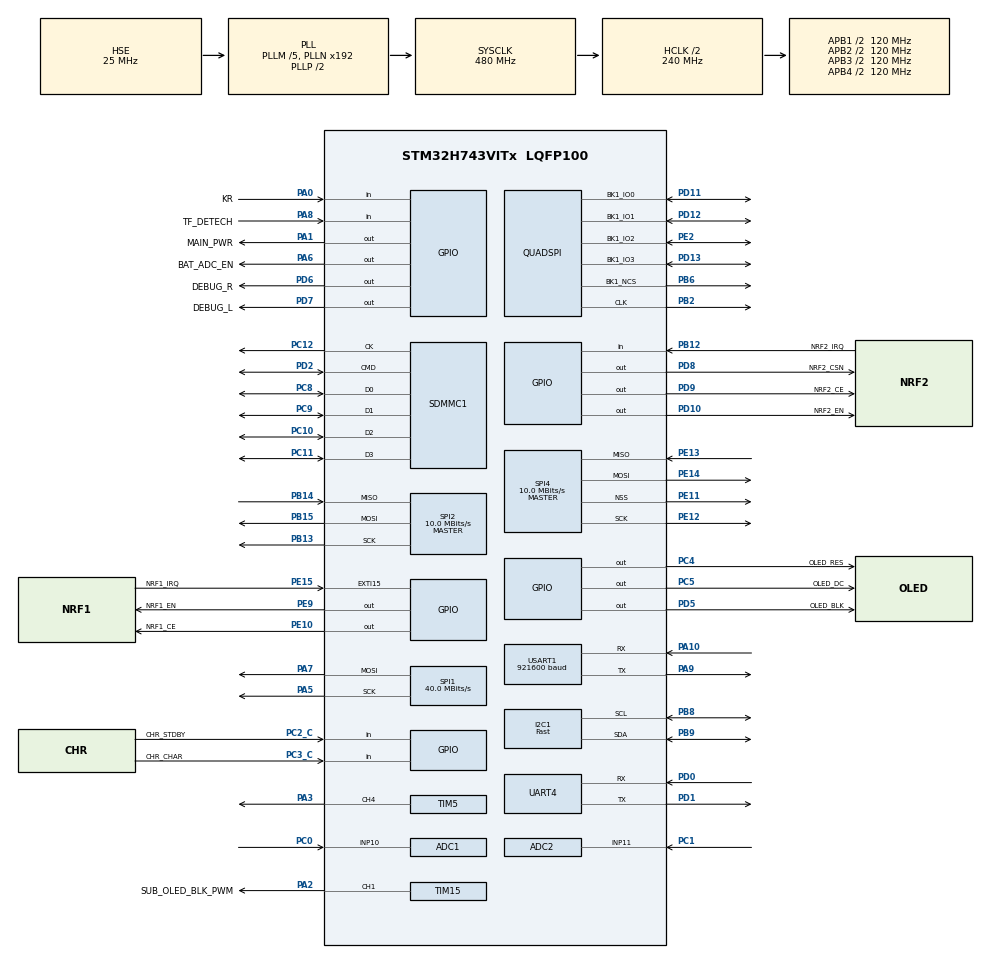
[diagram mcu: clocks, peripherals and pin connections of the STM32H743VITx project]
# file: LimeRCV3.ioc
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ADC1.Channel-0\#ChannelRegularConversion=ADC_CHANNEL_10
ADC1.ClockPrescaler=ADC_CLOCK_ASYNC_DIV256
ADC1.ContinuousConvMode=ENABLE
ADC1.NbrOfConversionFlag=1
ADC1.OffsetNumber-0\#ChannelRegularConversion=ADC_OFFSET_NONE
ADC1.OffsetSignedSaturation-0\#ChannelRegularConversion=DISABLE
ADC1.Overrun=ADC_OVR_DATA_OVERWRITTEN
ADC1.OversamplingMode=ENABLE
ADC1.Rank-0\#ChannelRegularConversion=1
ADC1.Ratio=128
ADC1.RightBitShift=ADC_RIGHTBITSHIFT_7
ADC1.SamplingTime-0\#ChannelRegularConversion=ADC_SAMPLETIME_1CYCLE_5
ADC1.master=1
ADC2.Channel-0\#ChannelRegularConversion=ADC_CHANNEL_11
ADC2.ClockPrescaler=ADC_CLOCK_ASYNC_DIV256
ADC2.ContinuousConvMode=ENABLE
ADC2.NbrOfConversionFlag=1
ADC2.OffsetNumber-0\#ChannelRegularConversion=ADC_OFFSET_NONE
ADC2.OffsetSignedSaturation-0\#ChannelRegularConversion=DISABLE
ADC2.Overrun=ADC_OVR_DATA_OVERWRITTEN
ADC2.OversamplingMode=ENABLE
ADC2.Rank-0\#ChannelRegularConversion=1
ADC2.Ratio=128
ADC2.RightBitShift=ADC_RIGHTBITSHIFT_7
ADC2.SamplingTime-0\#ChannelRegularConversion=ADC_SAMPLETIME_1CYCLE_5
CORTEX_M7.AccessPermission_S-Cortex_Memory_Protection_Unit_Region1_Settings_S=MPU_REGION_PRIV_RO_URO
CORTEX_M7.AccessPermission_S-Cortex_Memory_Protection_Unit_Region2_Settings_S=MPU_REGION_FULL_ACCESS
CORTEX_M7.AccessPermission_S-Cortex_Memory_Protection_Unit_Region3_Settings_S=MPU_REGION_FULL_ACCESS
CORTEX_M7.AccessPermission_S-Cortex_Memory_Protection_Unit_Region4_Settings_S=MPU_REGION_FULL_ACCESS
CORTEX_M7.AccessPermission_S-Cortex_Memory_Protection_Unit_Region5_Settings_S=MPU_REGION_FULL_ACCESS
CORTEX_M7.AccessPermission_S-Cortex_Memory_Protection_Unit_Region6_Settings_S=MPU_REGION_FULL_ACCESS
CORTEX_M7.AccessPermission_S-Cortex_Memory_Protection_Unit_Region7_Settings_S=MPU_REGION_FULL_ACCESS
CORTEX_M7.BaseAddress_S-Cortex_Memory_Protection_Unit_Region1_Settings_S=0x08000000
CORTEX_M7.BaseAddress_S-Cortex_Memory_Protection_Unit_Region2_Settings_S=0x24000000
CORTEX_M7.BaseAddress_S-Cortex_Memory_Protection_Unit_Region3_Settings_S=0x30000000
CORTEX_M7.BaseAddress_S-Cortex_Memory_Protection_Unit_Region4_Settings_S=0x30040000
CORTEX_M7.BaseAddress_S-Cortex_Memory_Protection_Unit_Region5_Settings_S=0x38000000
CORTEX_M7.BaseAddress_S-Cortex_Memory_Protection_Unit_Region6_Settings_S=0x20000000
CORTEX_M7.BaseAddress_S-Cortex_Memory_Protection_Unit_Region7_Settings_S=0x40000000
CORTEX_M7.CPU_DCache=Enabled
CORTEX_M7.CPU_ICache=Enabled
CORTEX_M7.DisableExec_S-Cortex_Memory_Protection_Unit_Region4_Settings_S=MPU_INSTRUCTION_ACCESS_DISABLE
CORTEX_M7.DisableExec_S-Cortex_Memory_Protection_Unit_Region5_Settings_S=MPU_INSTRUCTION_ACCESS_ENABLE
CORTEX_M7.Enable_S-Cortex_Memory_Protection_Unit_Region1_Settings_S=MPU_REGION_ENABLE
CORTEX_M7.Enable_S-Cortex_Memory_Protection_Unit_Region2_Settings_S=MPU_REGION_ENABLE
CORTEX_M7.Enable_S-Cortex_Memory_Protection_Unit_Region3_Settings_S=MPU_REGION_ENABLE
CORTEX_M7.Enable_S-Cortex_Memory_Protection_Unit_Region4_Settings_S=MPU_REGION_ENABLE
CORTEX_M7.Enable_S-Cortex_Memory_Protection_Unit_Region5_Settings_S=MPU_REGION_ENABLE
CORTEX_M7.Enable_S-Cortex_Memory_Protection_Unit_Region6_Settings_S=MPU_REGION_ENABLE
CORTEX_M7.Enable_S-Cortex_Memory_Protection_Unit_Region7_Settings_S=MPU_REGION_ENABLE
CORTEX_M7.IsBufferable_S-Cortex_Memory_Protection_Unit_Region1_Settings_S=MPU_ACCESS_BUFFERABLE
CORTEX_M7.IsBufferable_S-Cortex_Memory_Protection_Unit_Region2_Settings_S=MPU_ACCESS_BUFFERABLE
CORTEX_M7.IsBufferable_S-Cortex_Memory_Protection_Unit_Region3_Settings_S=MPU_ACCESS_BUFFERABLE
CORTEX_M7.IsBufferable_S-Cortex_Memory_Protection_Unit_Region6_Settings_S=MPU_ACCESS_BUFFERABLE
CORTEX_M7.IsCacheable_S-Cortex_Memory_Protection_Unit_Region1_Settings_S=MPU_ACCESS_CACHEABLE
CORTEX_M7.IsCacheable_S-Cortex_Memory_Protection_Unit_Region2_Settings_S=MPU_ACCESS_CACHEABLE
CORTEX_M7.IsCacheable_S-Cortex_Memory_Protection_Unit_Region3_Settings_S=MPU_ACCESS_CACHEABLE
CORTEX_M7.IsCacheable_S-Cortex_Memory_Protection_Unit_Region6_Settings_S=MPU_ACCESS_CACHEABLE
CORTEX_M7.Size_S-Cortex_Memory_Protection_Unit_Region1_Settings_S=MPU_REGION_SIZE_2MB
CORTEX_M7.Size_S-Cortex_Memory_Protection_Unit_Region2_Settings_S=MPU_REGION_SIZE_512KB
CORTEX_M7.Size_S-Cortex_Memory_Protection_Unit_Region3_Settings_S=MPU_REGION_SIZE_256KB
CORTEX_M7.Size_S-Cortex_Memory_Protection_Unit_Region4_Settings_S=MPU_REGION_SIZE_32KB
CORTEX_M7.Size_S-Cortex_Memory_Protection_Unit_Region5_Settings_S=MPU_REGION_SIZE_64KB
CORTEX_M7.Size_S-Cortex_Memory_Protection_Unit_Region6_Settings_S=MPU_REGION_SIZE_128KB
CORTEX_M7.Size_S-Cortex_Memory_Protection_Unit_Region7_Settings_S=MPU_REGION_SIZE_256MB
CORTEX_M7.TypeExtField_S-Cortex_Memory_Protection_Unit_Region1_Settings_S=MPU_TEX_LEVEL1
CORTEX_M7.TypeExtField_S-Cortex_Memory_Protection_Unit_Region2_Settings_S=MPU_TEX_LEVEL1
CORTEX_M7.TypeExtField_S-Cortex_Memory_Protection_Unit_Region3_Settings_S=MPU_TEX_LEVEL1
CORTEX_M7.TypeExtField_S-Cortex_Memory_Protection_Unit_Region6_Settings_S=MPU_TEX_LEVEL1
CORTEX_M7.default_mode_Activation=1
CRC.DefaultInitValueUse=DEFAULT_INIT_VALUE_DISABLE
CRC.InitValue=2023
DMA2D.ChromaSubSamplingForeground=DMA2D_CSS_422
DMA2D.ColorMode=DMA2D_OUTPUT_RGB565
DMA2D.InputColorModeForeground=DMA2D_INPUT_RGB888
DMA2D.Mode=DMA2D_M2M_PFC
Dma.Request0=TIM5_CH4
Dma.Request1=SPI1_TX
Dma.Request2=UART4_RX
Dma.Request3=SPI4_TX
Dma.Request4=SPI4_RX
Dma.SPI1_TX.1.Direction=DMA_MEMORY_TO_PERIPH
Dma.SPI1_TX.1.EventEnable=DISABLE
Dma.SPI1_TX.1.FIFOMode=DMA_FIFOMODE_DISABLE
Dma.SPI1_TX.1.Instance=DMA2_Stream0
Dma.SPI1_TX.1.MemDataAlignment=DMA_MDATAALIGN_HALFWORD
Dma.SPI1_TX.1.MemInc=DMA_MINC_ENABLE
Dma.SPI1_TX.1.Mode=DMA_NORMAL
Dma.SPI1_TX.1.PeriphDataAlignment=DMA_PDATAALIGN_HALFWORD
Dma.SPI1_TX.1.PeriphInc=DMA_PINC_DISABLE
Dma.SPI1_TX.1.Polarity=HAL_DMAMUX_REQ_GEN_RISING
Dma.SPI1_TX.1.Priority=DMA_PRIORITY_MEDIUM
Dma.SPI1_TX.1.RequestNumber=1
Dma.SPI1_TX.1.SignalID=NONE
Dma.SPI1_TX.1.SyncEnable=DISABLE
Dma.SPI1_TX.1.SyncPolarity=HAL_DMAMUX_SYNC_NO_EVENT
Dma.SPI1_TX.1.SyncRequestNumber=1
Dma.SPI1_TX.1.SyncSignalID=NONE
Dma.SPI4_RX.4.Direction=DMA_PERIPH_TO_MEMORY
Dma.SPI4_RX.4.EventEnable=DISABLE
Dma.SPI4_RX.4.FIFOMode=DMA_FIFOMODE_DISABLE
Dma.SPI4_RX.4.Instance=DMA1_Stream3
Dma.SPI4_RX.4.MemDataAlignment=DMA_MDATAALIGN_BYTE
Dma.SPI4_RX.4.MemInc=DMA_MINC_ENABLE
Dma.SPI4_RX.4.Mode=DMA_NORMAL
Dma.SPI4_RX.4.PeriphDataAlignment=DMA_PDATAALIGN_BYTE
Dma.SPI4_RX.4.PeriphInc=DMA_PINC_DISABLE
Dma.SPI4_RX.4.Polarity=HAL_DMAMUX_REQ_GEN_RISING
Dma.SPI4_RX.4.Priority=DMA_PRIORITY_HIGH
Dma.SPI4_RX.4.RequestNumber=1
Dma.SPI4_RX.4.SignalID=NONE
Dma.SPI4_RX.4.SyncEnable=DISABLE
Dma.SPI4_RX.4.SyncPolarity=HAL_DMAMUX_SYNC_NO_EVENT
Dma.SPI4_RX.4.SyncRequestNumber=1
Dma.SPI4_RX.4.SyncSignalID=NONE
Dma.SPI4_TX.3.Direction=DMA_MEMORY_TO_PERIPH
Dma.SPI4_TX.3.EventEnable=DISABLE
Dma.SPI4_TX.3.FIFOMode=DMA_FIFOMODE_DISABLE
Dma.SPI4_TX.3.Instance=DMA1_Stream2
Dma.SPI4_TX.3.MemDataAlignment=DMA_MDATAALIGN_BYTE
Dma.SPI4_TX.3.MemInc=DMA_MINC_ENABLE
Dma.SPI4_TX.3.Mode=DMA_NORMAL
Dma.SPI4_TX.3.PeriphDataAlignment=DMA_PDATAALIGN_BYTE
Dma.SPI4_TX.3.PeriphInc=DMA_PINC_DISABLE
Dma.SPI4_TX.3.Polarity=HAL_DMAMUX_REQ_GEN_RISING
Dma.SPI4_TX.3.Priority=DMA_PRIORITY_HIGH
Dma.SPI4_TX.3.RequestNumber=1
Dma.SPI4_TX.3.SignalID=NONE
Dma.SPI4_TX.3.SyncEnable=DISABLE
Dma.SPI4_TX.3.SyncPolarity=HAL_DMAMUX_SYNC_NO_EVENT
Dma.SPI4_TX.3.SyncRequestNumber=1
Dma.SPI4_TX.3.SyncSignalID=NONE
Dma.TIM5_CH4.0.Direction=DMA_MEMORY_TO_PERIPH
Dma.TIM5_CH4.0.EventEnable=DISABLE
Dma.TIM5_CH4.0.FIFOMode=DMA_FIFOMODE_DISABLE
Dma.TIM5_CH4.0.Instance=DMA1_Stream0
Dma.TIM5_CH4.0.MemDataAlignment=DMA_MDATAALIGN_WORD
Dma.TIM5_CH4.0.MemInc=DMA_MINC_ENABLE
Dma.TIM5_CH4.0.Mode=DMA_CIRCULAR
Dma.TIM5_CH4.0.PeriphDataAlignment=DMA_PDATAALIGN_WORD
Dma.TIM5_CH4.0.PeriphInc=DMA_PINC_DISABLE
Dma.TIM5_CH4.0.Polarity=HAL_DMAMUX_REQ_GEN_RISING
Dma.TIM5_CH4.0.Priority=DMA_PRIORITY_LOW
Dma.TIM5_CH4.0.RequestNumber=1
Dma.TIM5_CH4.0.SignalID=NONE
Dma.TIM5_CH4.0.SyncEnable=DISABLE
Dma.TIM5_CH4.0.SyncPolarity=HAL_DMAMUX_SYNC_NO_EVENT
Dma.TIM5_CH4.0.SyncRequestNumber=1
Dma.TIM5_CH4.0.SyncSignalID=NONE
Dma.UART4_RX.2.Direction=DMA_PERIPH_TO_MEMORY
Dma.UART4_RX.2.EventEnable=DISABLE
Dma.UART4_RX.2.FIFOMode=DMA_FIFOMODE_DISABLE
Dma.UART4_RX.2.Instance=DMA1_Stream1
Dma.UART4_RX.2.MemDataAlignment=DMA_MDATAALIGN_BYTE
Dma.UART4_RX.2.MemInc=DMA_MINC_ENABLE
Dma.UART4_RX.2.Mode=DMA_NORMAL
Dma.UART4_RX.2.PeriphDataAlignment=DMA_PDATAALIGN_BYTE
Dma.UART4_RX.2.PeriphInc=DMA_PINC_DISABLE
Dma.UART4_RX.2.Polarity=HAL_DMAMUX_REQ_GEN_RISING
Dma.UART4_RX.2.Priority=DMA_PRIORITY_LOW
Dma.UART4_RX.2.RequestNumber=1
Dma.UART4_RX.2.SignalID=NONE
Dma.UART4_RX.2.SyncEnable=DISABLE
Dma.UART4_RX.2.SyncPolarity=HAL_DMAMUX_SYNC_NO_EVENT
Dma.UART4_RX.2.SyncRequestNumber=1
Dma.UART4_RX.2.SyncSignalID=NONE
FREERTOS.INCLUDE_xTaskGetHandle=1
FREERTOS.Tasks01=bspUI,-1,2048,bspUI_main,As weak,NULL,Dynamic,NULL,NULL;nrfMessage,0,256,nrfMessage_main,As weak,NULL,Dynamic,NULL,NULL;bspInfo,-2,512,bspInfo_main,As weak,NULL,Dynamic,NULL,NULL;nrfVideo,2,256,nrfVideo_main,As weak,NULL,Dynamic,NULL,NULL;watchDog,-1,128,watchDog_main,As weak,NULL,Dynamic,NULL,NULL
FREERTOS.configTOTAL_HEAP_SIZE=24576
I2C1.I2C_Speed_Mode=I2C_Fast
I2C1.Timing=0x00B03FDB
IWDG1.Prescaler=IWDG_PRESCALER_64
JPEG.JPEG_RGB_FORMAT=JPEG_RGB565
JPEG.USE_JPEG_ENCODER=0
Mcu.Family=STM32H7
Mcu.Name=STM32H743VITx
Mcu.Package=LQFP100
Mdma.MDMA_Channel14.QUADSPI_FIFO_TH.0.BlockCount=0
Mdma.MDMA_Channel14.QUADSPI_FIFO_TH.0.BlockDataLength=0
Mdma.MDMA_Channel14.QUADSPI_FIFO_TH.0.BufferTransferLength=32
Mdma.MDMA_Channel14.QUADSPI_FIFO_TH.0.CircularMode=MDMA_LINEAR_LIST
Mdma.MDMA_Channel14.QUADSPI_FIFO_TH.0.DataAlignment=MDMA_DATAALIGN_PACKENABLE
Mdma.MDMA_Channel14.QUADSPI_FIFO_TH.0.DestBlockAddressOffset=0
Mdma.MDMA_Channel14.QUADSPI_FIFO_TH.0.DestBurst=MDMA_DEST_BURST_SINGLE
Mdma.MDMA_Channel14.QUADSPI_FIFO_TH.0.DestDataSize=MDMA_DEST_DATASIZE_BYTE
Mdma.MDMA_Channel14.QUADSPI_FIFO_TH.0.DestinationInc=MDMA_DEST_INC_DISABLE
Mdma.MDMA_Channel14.QUADSPI_FIFO_TH.0.DstAddress=0
Mdma.MDMA_Channel14.QUADSPI_FIFO_TH.0.Endianness=MDMA_LITTLE_ENDIANNESS_PRESERVE
Mdma.MDMA_Channel14.QUADSPI_FIFO_TH.0.Instance=MDMA_Channel14
Mdma.MDMA_Channel14.QUADSPI_FIFO_TH.0.MaskAddress=0
Mdma.MDMA_Channel14.QUADSPI_FIFO_TH.0.MaskData=0
Mdma.MDMA_Channel14.QUADSPI_FIFO_TH.0.Priority=MDMA_PRIORITY_VERY_HIGH
Mdma.MDMA_Channel14.QUADSPI_FIFO_TH.0.Rank=First
Mdma.MDMA_Channel14.QUADSPI_FIFO_TH.0.SourceBlockAddressOffset=0
Mdma.MDMA_Channel14.QUADSPI_FIFO_TH.0.SourceBurst=MDMA_SOURCE_BURST_SINGLE
Mdma.MDMA_Channel14.QUADSPI_FIFO_TH.0.SourceDataSize=MDMA_SRC_DATASIZE_BYTE
Mdma.MDMA_Channel14.QUADSPI_FIFO_TH.0.SourceInc=MDMA_SRC_INC_BYTE
Mdma.MDMA_Channel14.QUADSPI_FIFO_TH.0.SrcAddress=0
Mdma.MDMA_Channel14.QUADSPI_FIFO_TH.0.TransferTriggerMode=MDMA_BUFFER_TRANSFER
Mdma.MDMA_Channel14.Request0=QUADSPI_FIFO_TH
Mdma.MDMA_Channel14.RequestsNb=1
Mdma.MDMA_Channel6.JPEG_OUTFIFO_TH.0.BlockCount=0
Mdma.MDMA_Channel6.JPEG_OUTFIFO_TH.0.BlockDataLength=0
Mdma.MDMA_Channel6.JPEG_OUTFIFO_TH.0.BufferTransferLength=32
Mdma.MDMA_Channel6.JPEG_OUTFIFO_TH.0.CircularMode=MDMA_LINEAR_LIST
Mdma.MDMA_Channel6.JPEG_OUTFIFO_TH.0.DataAlignment=MDMA_DATAALIGN_PACKENABLE
Mdma.MDMA_Channel6.JPEG_OUTFIFO_TH.0.DestBlockAddressOffset=0
Mdma.MDMA_Channel6.JPEG_OUTFIFO_TH.0.DestBurst=MDMA_DEST_BURST_32BEATS
Mdma.MDMA_Channel6.JPEG_OUTFIFO_TH.0.DestDataSize=MDMA_DEST_DATASIZE_BYTE
Mdma.MDMA_Channel6.JPEG_OUTFIFO_TH.0.DestinationInc=MDMA_DEST_INC_BYTE
Mdma.MDMA_Channel6.JPEG_OUTFIFO_TH.0.DstAddress=0
Mdma.MDMA_Channel6.JPEG_OUTFIFO_TH.0.Endianness=MDMA_LITTLE_ENDIANNESS_PRESERVE
Mdma.MDMA_Channel6.JPEG_OUTFIFO_TH.0.Instance=MDMA_Channel6
Mdma.MDMA_Channel6.JPEG_OUTFIFO_TH.0.MaskAddress=0
Mdma.MDMA_Channel6.JPEG_OUTFIFO_TH.0.MaskData=0
Mdma.MDMA_Channel6.JPEG_OUTFIFO_TH.0.Priority=MDMA_PRIORITY_LOW
Mdma.MDMA_Channel6.JPEG_OUTFIFO_TH.0.Rank=First
Mdma.MDMA_Channel6.JPEG_OUTFIFO_TH.0.SourceBlockAddressOffset=0
Mdma.MDMA_Channel6.JPEG_OUTFIFO_TH.0.SourceBurst=MDMA_SOURCE_BURST_32BEATS
Mdma.MDMA_Channel6.JPEG_OUTFIFO_TH.0.SourceDataSize=MDMA_SRC_DATASIZE_WORD
Mdma.MDMA_Channel6.JPEG_OUTFIFO_TH.0.SourceInc=MDMA_SRC_INC_DISABLE
Mdma.MDMA_Channel6.JPEG_OUTFIFO_TH.0.SrcAddress=0
Mdma.MDMA_Channel6.JPEG_OUTFIFO_TH.0.TransferTriggerMode=MDMA_BUFFER_TRANSFER
Mdma.MDMA_Channel6.Request0=JPEG_OUTFIFO_TH
Mdma.MDMA_Channel6.RequestsNb=1
Mdma.MDMA_Channel7.JPEG_INFIFO_TH.0.BlockCount=0
Mdma.MDMA_Channel7.JPEG_INFIFO_TH.0.BlockDataLength=0
Mdma.MDMA_Channel7.JPEG_INFIFO_TH.0.BufferTransferLength=32
Mdma.MDMA_Channel7.JPEG_INFIFO_TH.0.CircularMode=MDMA_LINEAR_LIST
Mdma.MDMA_Channel7.JPEG_INFIFO_TH.0.DataAlignment=MDMA_DATAALIGN_PACKENABLE
Mdma.MDMA_Channel7.JPEG_INFIFO_TH.0.DestBlockAddressOffset=0
Mdma.MDMA_Channel7.JPEG_INFIFO_TH.0.DestBurst=MDMA_DEST_BURST_16BEATS
Mdma.MDMA_Channel7.JPEG_INFIFO_TH.0.DestDataSize=MDMA_DEST_DATASIZE_WORD
Mdma.MDMA_Channel7.JPEG_INFIFO_TH.0.DestinationInc=MDMA_DEST_INC_DISABLE
Mdma.MDMA_Channel7.JPEG_INFIFO_TH.0.DstAddress=0
Mdma.MDMA_Channel7.JPEG_INFIFO_TH.0.Endianness=MDMA_LITTLE_ENDIANNESS_PRESERVE
Mdma.MDMA_Channel7.JPEG_INFIFO_TH.0.Instance=MDMA_Channel7
Mdma.MDMA_Channel7.JPEG_INFIFO_TH.0.MaskAddress=0
Mdma.MDMA_Channel7.JPEG_INFIFO_TH.0.MaskData=0
Mdma.MDMA_Channel7.JPEG_INFIFO_TH.0.Priority=MDMA_PRIORITY_LOW
Mdma.MDMA_Channel7.JPEG_INFIFO_TH.0.Rank=First
Mdma.MDMA_Channel7.JPEG_INFIFO_TH.0.SourceBlockAddressOffset=0
Mdma.MDMA_Channel7.JPEG_INFIFO_TH.0.SourceBurst=MDMA_SOURCE_BURST_32BEATS
Mdma.MDMA_Channel7.JPEG_INFIFO_TH.0.SourceDataSize=MDMA_SRC_DATASIZE_BYTE
Mdma.MDMA_Channel7.JPEG_INFIFO_TH.0.SourceInc=MDMA_SRC_INC_BYTE
Mdma.MDMA_Channel7.JPEG_INFIFO_TH.0.SrcAddress=0
Mdma.MDMA_Channel7.JPEG_INFIFO_TH.0.TransferTriggerMode=MDMA_BUFFER_TRANSFER
Mdma.MDMA_Channel7.Request0=JPEG_INFIFO_TH
Mdma.MDMA_Channel7.RequestsNb=1
Mdma.RequestSet0=MDMA_Channel14
Mdma.RequestSet1=MDMA_Channel7
Mdma.RequestSet2=MDMA_Channel6
Mdma.RequestSetsNb=3
NVIC.DMA1_Stream0_IRQn=true\:5\:0\:false\:false\:true\:true\:false\:true\:true
NVIC.DMA1_Stream1_IRQn=true\:5\:0\:false\:false\:true\:false\:false\:true\:true
NVIC.DMA1_Stream2_IRQn=true\:5\:0\:false\:false\:true\:true\:false\:true\:true
NVIC.DMA1_Stream3_IRQn=true\:5\:0\:false\:false\:true\:true\:false\:true\:true
NVIC.DMA2_Stream0_IRQn=true\:5\:0\:false\:false\:true\:false\:false\:true\:true
NVIC.EXTI15_10_IRQn=true\:5\:0\:false\:false\:true\:true\:true\:true\:true
NVIC.JPEG_IRQn=true\:5\:0\:false\:false\:true\:true\:true\:true\:true
NVIC.MDMA_IRQn=true\:6\:0\:true\:false\:true\:false\:false\:true\:true
NVIC.PriorityGroup=NVIC_PRIORITYGROUP_4
NVIC.QUADSPI_IRQn=true\:6\:0\:true\:false\:true\:true\:true\:true\:true
NVIC.SDMMC1_IRQn=true\:5\:0\:true\:false\:true\:true\:true\:true\:true
NVIC.SPI1_IRQn=true\:5\:0\:false\:false\:true\:true\:false\:true\:true
NVIC.SPI4_IRQn=true\:6\:0\:true\:false\:true\:true\:true\:true\:true
NVIC.TIM17_IRQn=true\:15\:0\:false\:false\:true\:false\:false\:true\:true
NVIC.TimeBase=TIM17_IRQn
NVIC.TimeBaseIP=TIM17
NVIC.UART4_IRQn=true\:8\:0\:true\:false\:true\:true\:true\:true\:true
PA0.GPIO_Label=KR
PA0.GPIO_PuPd=GPIO_PULLUP
PA0.Signal=GPIO_Input
PA1.GPIO_Label=MAIN_PWR
PA1.Signal=GPIO_Output
PA10.Mode=Asynchronous
PA10.Signal=USART1_RX
PA13\ (JTMS/SWDIO).Mode=JTAG_4_pins
PA13\ (JTMS/SWDIO).Signal=DEBUG_JTMS-SWDIO
PA14\ (JTCK/SWCLK).Mode=JTAG_4_pins
PA14\ (JTCK/SWCLK).Signal=DEBUG_JTCK-SWCLK
PA15\ (JTDI).Mode=JTAG_4_pins
PA15\ (JTDI).Signal=DEBUG_JTDI
PA2.GPIO_Label=SUB_OLED_BLK_PWM
PA2.Signal=S_TIM15_CH1
PA3.Signal=S_TIM5_CH4
PA5.GPIO_PuPd=GPIO_PULLUP
PA5.GPIO_Speed=GPIO_SPEED_FREQ_MEDIUM
PA5.Mode=TX_Only_Simplex_Unidirect_Master
PA5.Signal=SPI1_SCK
PA6.GPIO_Label=BAT_ADC_EN
PA6.PinState=GPIO_PIN_SET
PA6.Signal=GPIO_Output
PA7.GPIO_Speed=GPIO_SPEED_FREQ_MEDIUM
PA7.Mode=TX_Only_Simplex_Unidirect_Master
PA7.Signal=SPI1_MOSI
PA8.GPIO_Label=TF_DETECH
PA8.GPIO_PuPd=GPIO_PULLUP
PA8.Signal=GPIO_Input
PA9.Mode=Asynchronous
PA9.Signal=USART1_TX
PB12.GPIO_Label=NRF2_IRQ
PB12.GPIO_PuPd=GPIO_PULLUP
PB12.Signal=GPIO_Input
PB13.GPIO_PuPd=GPIO_PULLDOWN
PB13.GPIO_Speed=GPIO_SPEED_FREQ_MEDIUM
PB13.Mode=Full_Duplex_Master
PB13.Signal=SPI2_SCK
PB14.GPIO_PuPd=GPIO_PULLDOWN
PB14.GPIO_Speed=GPIO_SPEED_FREQ_LOW
PB14.Mode=Full_Duplex_Master
PB14.Signal=SPI2_MISO
PB15.GPIO_PuPd=GPIO_PULLDOWN
PB15.GPIO_Speed=GPIO_SPEED_FREQ_HIGH
PB15.Mode=Full_Duplex_Master
PB15.Signal=SPI2_MOSI
PB2.GPIO_Speed=GPIO_SPEED_FREQ_VERY_HIGH
PB2.Mode=Single Bank 1
PB2.Signal=QUADSPI_CLK
PB3\ (JTDO/TRACESWO).Mode=JTAG_4_pins
PB3\ (JTDO/TRACESWO).Signal=DEBUG_JTDO-SWO
PB6.GPIO_Speed=GPIO_SPEED_FREQ_VERY_HIGH
PB6.Mode=Single Bank 1
PB6.Signal=QUADSPI_BK1_NCS
PB8.Mode=I2C
PB8.Signal=I2C1_SCL
PB9.Mode=I2C
PB9.Signal=I2C1_SDA
PC0.Signal=ADCx_INP10
PC1.Signal=ADCx_INP11
PC10.Mode=SD_4_bits_Wide_bus
PC10.Signal=SDMMC1_D2
PC11.Mode=SD_4_bits_Wide_bus
PC11.Signal=SDMMC1_D3
PC12.Mode=SD_4_bits_Wide_bus
PC12.Signal=SDMMC1_CK
PC14-OSC32_IN\ (OSC32_IN).Mode=LSE-External-Oscillator
PC14-OSC32_IN\ (OSC32_IN).Signal=RCC_OSC32_IN
PC15-OSC32_OUT\ (OSC32_OUT).Mode=LSE-External-Oscillator
PC15-OSC32_OUT\ (OSC32_OUT).Signal=RCC_OSC32_OUT
PC2_C.GPIO_Label=CHR_STDBY
PC2_C.GPIO_PuPd=GPIO_PULLUP
PC2_C.Signal=GPIO_Input
PC3_C.GPIO_Label=CHR_CHAR
PC3_C.GPIO_PuPd=GPIO_PULLUP
PC3_C.Signal=GPIO_Input
PC4.GPIO_Label=OLED_RES
PC4.GPIO_Speed=GPIO_SPEED_FREQ_LOW
PC4.Signal=GPIO_Output
PC5.GPIO_Label=OLED_DC
PC5.Signal=GPIO_Output
PC8.Mode=SD_4_bits_Wide_bus
PC8.Signal=SDMMC1_D0
PC9.Mode=SD_4_bits_Wide_bus
PC9.Signal=SDMMC1_D1
PD0.Mode=Asynchronous
PD0.Signal=UART4_RX
PD1.Mode=Asynchronous
PD1.Signal=UART4_TX
PD10.GPIO_Label=NRF2_EN
PD10.GPIO_Speed=GPIO_SPEED_FREQ_MEDIUM
PD10.PinState=GPIO_PIN_SET
PD10.Signal=GPIO_Output
PD11.GPIO_Speed=GPIO_SPEED_FREQ_VERY_HIGH
PD11.Mode=Single Bank 1
PD11.Signal=QUADSPI_BK1_IO0
PD12.GPIO_Speed=GPIO_SPEED_FREQ_VERY_HIGH
PD12.Mode=Single Bank 1
PD12.Signal=QUADSPI_BK1_IO1
PD13.GPIO_Speed=GPIO_SPEED_FREQ_VERY_HIGH
PD13.Mode=Single Bank 1
PD13.Signal=QUADSPI_BK1_IO3
PD2.Mode=SD_4_bits_Wide_bus
PD2.Signal=SDMMC1_CMD
PD5.GPIO_Label=OLED_BLK
PD5.Signal=GPIO_Output
PD6.GPIO_Label=DEBUG_R
PD6.GPIO_Speed=GPIO_SPEED_FREQ_HIGH
PD6.Signal=GPIO_Output
PD7.GPIO_Label=DEBUG_L
PD7.GPIO_Speed=GPIO_SPEED_FREQ_HIGH
PD7.Signal=GPIO_Output
PD8.GPIO_Label=NRF2_CSN
PD8.Signal=GPIO_Output
PD9.GPIO_Label=NRF2_CE
PD9.Signal=GPIO_Output
PE10.GPIO_Label=NRF1_CE
PE10.Signal=GPIO_Output
PE11.Mode=NSS_Signal_Hard_Output
PE11.Signal=SPI4_NSS
PE12.Mode=Full_Duplex_Master
PE12.Signal=SPI4_SCK
PE13.Mode=Full_Duplex_Master
PE13.Signal=SPI4_MISO
PE14.Mode=Full_Duplex_Master
PE14.Signal=SPI4_MOSI
PE15.GPIO_Label=NRF1_IRQ
PE15.GPIO_ModeDefaultEXTI=GPIO_MODE_IT_FALLING
PE15.GPIO_PuPd=GPIO_PULLUP
PE15.Signal=GPXTI15
PE2.GPIO_Speed=GPIO_SPEED_FREQ_VERY_HIGH
PE2.Mode=Single Bank 1
PE2.Signal=QUADSPI_BK1_IO2
PE9.GPIO_Label=NRF1_EN
PE9.Signal=GPIO_Output
PH0-OSC_IN\ (PH0).Mode=HSE-External-Oscillator
PH0-OSC_IN\ (PH0).Signal=RCC_OSC_IN
PH1-OSC_OUT\ (PH1).Mode=HSE-External-Oscillator
PH1-OSC_OUT\ (PH1).Signal=RCC_OSC_OUT
ProjectManager.HeapSize=0x1000
ProjectManager.StackSize=0x1200
ProjectManager.TargetToolchain=MDK-ARM V5.32
QUADSPI.ClockPrescaler=2-1
QUADSPI.FifoThreshold=32
QUADSPI.FlashSize=23
QUADSPI.SampleShifting=QSPI_SAMPLE_SHIFTING_HALFCYCLE
RCC.ADCCLockSelection=RCC_ADCCLKSOURCE_CLKP
RCC.ADCFreq_Value=64000000
RCC.APB1Freq_Value=120000000
RCC.APB2Freq_Value=120000000
RCC.APB3Freq_Value=120000000
RCC.APB4Freq_Value=120000000
RCC.CortexFreq_Value=480000000
RCC.D1PPRE=RCC_APB3_DIV2
RCC.D2PPRE1=RCC_APB1_DIV2
RCC.D2PPRE2=RCC_APB2_DIV2
RCC.D3PPRE=RCC_APB4_DIV2
RCC.DIVM1=5
RCC.DIVM2=5
RCC.DIVM3=25
RCC.DIVN1=192
RCC.DIVN2=64
RCC.DIVN3=130
RCC.DIVQ1=4
RCC.DIVQ2=4
RCC.DIVR2=1
RCC.HCLKFreq_Value=240000000
RCC.HPRE=RCC_HCLK_DIV2
RCC.HSE_VALUE=25000000
RCC.PLL2FRACN=0
RCC.PLLFRACN=0
RCC.PLLSourceVirtual=RCC_PLLSOURCE_HSE
RCC.RTCClockSelection=RCC_RTCCLKSOURCE_LSE
RCC.SPI123CLockSelection=RCC_SPI123CLKSOURCE_PLL2
RCC.SYSCLKFreq_VALUE=480000000
RCC.SYSCLKSource=RCC_SYSCLKSOURCE_PLLCLK
RCC.Spi45ClockSelection=RCC_SPI45CLKSOURCE_PLL2
RCC.USBFreq_Value=240000000
RTC.Hours=12
SDMMC1.ClockDiv=3
SH.ADCx_INP10.0=ADC1_INP10,IN10-Single-Ended
SH.ADCx_INP11.0=ADC2_INP11,IN11-Single-Ended
SH.S_TIM15_CH1.0=TIM15_CH1,PWM Generation1 CH1
SH.S_TIM5_CH4.0=TIM5_CH4,PWM Generation4 CH4
SPI1.BaudRatePrescaler=SPI_BAUDRATEPRESCALER_4
SPI1.CLKPhase=SPI_PHASE_2EDGE
SPI1.CLKPolarity=SPI_POLARITY_HIGH
SPI1.CalculateBaudRate=40.0 MBits/s
SPI1.DataSize=SPI_DATASIZE_8BIT
SPI1.Direction=SPI_DIRECTION_2LINES_TXONLY
SPI1.Mode=SPI_MODE_MASTER
SPI1.VirtualType=VM_MASTER
SPI2.BaudRatePrescaler=SPI_BAUDRATEPRESCALER_16
SPI2.CalculateBaudRate=10.0 MBits/s
SPI2.DataSize=SPI_DATASIZE_8BIT
SPI2.Direction=SPI_DIRECTION_2LINES
SPI2.Mode=SPI_MODE_MASTER
SPI2.VirtualType=VM_MASTER
SPI4.BaudRatePrescaler=SPI_BAUDRATEPRESCALER_8
SPI4.CalculateBaudRate=10.0 MBits/s
SPI4.DataSize=SPI_DATASIZE_8BIT
SPI4.Direction=SPI_DIRECTION_2LINES
SPI4.FifoThreshold=SPI_FIFO_THRESHOLD_08DATA
SPI4.MasterKeepIOState=SPI_MASTER_KEEP_IO_STATE_ENABLE
SPI4.Mode=SPI_MODE_MASTER
SPI4.VirtualNSS=VM_NSSHARD
SPI4.VirtualType=VM_MASTER
TIM15.Channel-PWM\ Generation1\ CH1=TIM_CHANNEL_1
TIM15.OCPolarity_1=TIM_OCPOLARITY_LOW
TIM15.Period=1000-1
TIM15.Prescaler=60-1
TIM15.Pulse-PWM\ Generation1\ CH1=500
TIM5.Channel-PWM\ Generation4\ CH4=TIM_CHANNEL_4
TIM5.Period=20-1
TIM5.Prescaler=12-1
TIM5.Pulse-PWM\ Generation4\ CH4=10
TIM5.TIM_MasterOutputTrigger=TIM_TRGO_UPDATE
USART1.BaudRate=921600
USART1.VirtualMode-Asynchronous=VM_ASYNC
VP_CRC_VS_CRC.Mode=CRC_Activate
VP_DMA2D_VS_DMA2D.Mode=DMA2D_Activate
VP_FREERTOS_VS_CMSIS_V1.Mode=CMSIS_V1
VP_IWDG1_VS_IWDG.Mode=IWDG_Activate
VP_JPEG_VS_JPEG.Mode=JPEG_Activate
VP_MEMORYMAP_VS_MEMORYMAP.Mode=CurAppReg
VP_RTC_VS_RTC_Activate.Mode=RTC_Enabled
VP_RTC_VS_RTC_Calendar.Mode=RTC_Calendar
VP_SYS_VS_tim17.Mode=TIM17
VP_TIM15_VS_ClockSourceINT.Mode=Internal
VP_TIM5_VS_ClockSourceINT.Mode=Internal
board=custom

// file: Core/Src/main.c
/* USER CODE BEGIN Header */
/**
  ******************************************************************************
  * @file           : main.c
  * @brief          : Main program body
  ******************************************************************************
  * @attention
  *
  * Copyright (c) 2025 STMicroelectronics.
  * All rights reserved.
  *
  * This software is licensed under terms that can be found in the LICENSE file
  * in the root directory of this software component.
  * If no LICENSE file comes with this software, it is provided AS-IS.
  *
  ******************************************************************************
  */
/* USER CODE END Header */
#include "main.h"
#include "cmsis_os.h"
#include "adc.h"
#include "crc.h"
#include "dma.h"
#include "dma2d.h"
#include "i2c.h"
#include "iwdg.h"
#include "jpeg.h"
#include "mdma.h"
#include "memorymap.h"
#include "quadspi.h"
#include "rtc.h"
#include "sdmmc.h"
#include "spi.h"
#include "tim.h"
#include "usart.h"
#include "gpio.h"

/* USER CODE BEGIN Includes */
#include "ws2812.h"
/* USER CODE END Includes */

void SystemClock_Config(void);
void PeriphCommonClock_Config(void);
static void MPU_Config(void);
void MX_FREERTOS_Init(void);

int main(void)
{

  /* MPU Configuration--------------------------------------------------------*/
  MPU_Config();

  /* Enable the CPU Cache */

  /* Enable I-Cache---------------------------------------------------------*/
  SCB_EnableICache();

  /* Enable D-Cache---------------------------------------------------------*/
  SCB_EnableDCache();

  /* MCU Configuration--------------------------------------------------------*/

  /* Reset of all peripherals, Initializes the Flash interface and the Systick. */
  HAL_Init();

  /* Configure the system clock */
  SystemClock_Config();

  /* Configure the peripherals common clocks */
  PeriphCommonClock_Config();

  /* Initialize all configured peripherals */
  MX_GPIO_Init();
  MX_MDMA_Init();
  MX_DMA_Init();
  MX_USART1_UART_Init();
  MX_QUADSPI_Init();
  MX_SDMMC1_SD_Init();
  MX_SPI2_Init();
  MX_TIM5_Init();
  MX_SPI1_Init();
  MX_UART4_Init();
  MX_RTC_Init();
  MX_CRC_Init();
  MX_JPEG_Init();
  MX_DMA2D_Init();
  MX_SPI4_Init();
  MX_I2C1_Init();
  MX_ADC1_Init();
  MX_ADC2_Init();
  MX_TIM15_Init();
  MX_IWDG1_Init();
  /* USER CODE BEGIN 2 */

	LEprintf("\n\nLime RC V3.1 demo,Start!\n");
	LEprintf("CompileTime:%s,%s\n", __DATE__, __TIME__);

	/* enable main power	*/
	HAL_GPIO_WritePin(MAIN_PWR_GPIO_Port, MAIN_PWR_Pin, GPIO_PIN_RESET);

	/* Init WS2812 */
	ws2812_Init();

	while(1)
	{
		static uint32_t kr_release_time = 0;

		if(!IS_KR_PRESSED())
		{
			kr_release_time = HAL_GetTick();
			WS2812_SetPowerOnSequence(0);
		}

		if(IS_KR_PRESSED())
		{
			if(HAL_GetTick() - kr_release_time < 100)
				WS2812_SetPowerOnSequence(0);
			else if(HAL_GetTick() - kr_release_time < 400)
				WS2812_SetPowerOnSequence(1);
			else if(HAL_GetTick() - kr_release_time < 700)
				WS2812_SetPowerOnSequence(2);
			else if(HAL_GetTick() - kr_release_time < 1000)
				WS2812_SetPowerOnSequence(3);
			else if(HAL_GetTick() - kr_release_time < 1200)
				WS2812_SetPowerOnSequence(4);
			else
			{
				HAL_GPIO_WritePin(MAIN_PWR_GPIO_Port, MAIN_PWR_Pin, GPIO_PIN_SET);
				break;
			}

			/* feed watchdog */
			HAL_IWDG_Refresh(&hiwdg1);
		}
	}

	/* enable main power */
	HAL_GPIO_WritePin(MAIN_PWR_GPIO_Port, MAIN_PWR_Pin, GPIO_PIN_SET);

  /* USER CODE END 2 */

  /* Call init function for freertos objects (in cmsis_os2.c) */
  MX_FREERTOS_Init();

  /* Start scheduler */
  osKernelStart();

  /* We should never get here as control is now taken by the scheduler */

  /* Infinite loop */
  while (1)
  {

  }
}

void SystemClock_Config(void)
{
  RCC_OscInitTypeDef RCC_OscInitStruct = {0};
  RCC_ClkInitTypeDef RCC_ClkInitStruct = {0};

  /** Supply configuration update enable
  */
  HAL_PWREx_ConfigSupply(PWR_LDO_SUPPLY);

  /** Configure the main internal regulator output voltage
  */
  __HAL_PWR_VOLTAGESCALING_CONFIG(PWR_REGULATOR_VOLTAGE_SCALE1);

  while(!__HAL_PWR_GET_FLAG(PWR_FLAG_VOSRDY)) {}

  __HAL_RCC_SYSCFG_CLK_ENABLE();
  __HAL_PWR_VOLTAGESCALING_CONFIG(PWR_REGULATOR_VOLTAGE_SCALE0);

  while(!__HAL_PWR_GET_FLAG(PWR_FLAG_VOSRDY)) {}

  /** Configure LSE Drive Capability
  */
  HAL_PWR_EnableBkUpAccess();
  __HAL_RCC_LSEDRIVE_CONFIG(RCC_LSEDRIVE_LOW);

  /** Initializes the RCC Oscillators according to the specified parameters
  * in the RCC_OscInitTypeDef structure.
  */
  RCC_OscInitStruct.OscillatorType = RCC_OSCILLATORTYPE_HSI|RCC_OSCILLATORTYPE_LSI
                              |RCC_OSCILLATORTYPE_HSE|RCC_OSCILLATORTYPE_LSE;
  RCC_OscInitStruct.HSEState = RCC_HSE_ON;
  RCC_OscInitStruct.LSEState = RCC_LSE_ON;
  RCC_OscInitStruct.HSIState = RCC_HSI_DIV1;
  RCC_OscInitStruct.HSICalibrationValue = RCC_HSICALIBRATION_DEFAULT;
  RCC_OscInitStruct.LSIState = RCC_LSI_ON;
  RCC_OscInitStruct.PLL.PLLState = RCC_PLL_ON;
  RCC_OscInitStruct.PLL.PLLSource = RCC_PLLSOURCE_HSE;
  RCC_OscInitStruct.PLL.PLLM = 5;
  RCC_OscInitStruct.PLL.PLLN = 192;
  RCC_OscInitStruct.PLL.PLLP = 2;
  RCC_OscInitStruct.PLL.PLLQ = 4;
  RCC_OscInitStruct.PLL.PLLR = 2;
  RCC_OscInitStruct.PLL.PLLRGE = RCC_PLL1VCIRANGE_2;
  RCC_OscInitStruct.PLL.PLLVCOSEL = RCC_PLL1VCOWIDE;
  RCC_OscInitStruct.PLL.PLLFRACN = 0;
  if (HAL_RCC_OscConfig(&RCC_OscInitStruct) != HAL_OK)
  {
    Error_Handler();
  }

  /** Initializes the CPU, AHB and APB buses clocks
  */
  RCC_ClkInitStruct.ClockType = RCC_CLOCKTYPE_HCLK|RCC_CLOCKTYPE_SYSCLK
                              |RCC_CLOCKTYPE_PCLK1|RCC_CLOCKTYPE_PCLK2
                              |RCC_CLOCKTYPE_D3PCLK1|RCC_CLOCKTYPE_D1PCLK1;
  RCC_ClkInitStruct.SYSCLKSource = RCC_SYSCLKSOURCE_PLLCLK;
  RCC_ClkInitStruct.SYSCLKDivider = RCC_SYSCLK_DIV1;
  RCC_ClkInitStruct.AHBCLKDivider = RCC_HCLK_DIV2;
  RCC_ClkInitStruct.APB3CLKDivider = RCC_APB3_DIV2;
  RCC_ClkInitStruct.APB1CLKDivider = RCC_APB1_DIV2;
  RCC_ClkInitStruct.APB2CLKDivider = RCC_APB2_DIV2;
  RCC_ClkInitStruct.APB4CLKDivider = RCC_APB4_DIV2;

  if (HAL_RCC_ClockConfig(&RCC_ClkInitStruct, FLASH_LATENCY_4) != HAL_OK)
  {
    Error_Handler();
  }
}

void PeriphCommonClock_Config(void)
{
  RCC_PeriphCLKInitTypeDef PeriphClkInitStruct = {0};

  /** Initializes the peripherals clock
  */
  PeriphClkInitStruct.PeriphClockSelection = RCC_PERIPHCLK_SPI2|RCC_PERIPHCLK_SPI1
                              |RCC_PERIPHCLK_SPI4|RCC_PERIPHCLK_CKPER;
  PeriphClkInitStruct.PLL2.PLL2M = 5;
  PeriphClkInitStruct.PLL2.PLL2N = 64;
  PeriphClkInitStruct.PLL2.PLL2P = 2;
  PeriphClkInitStruct.PLL2.PLL2Q = 4;
  PeriphClkInitStruct.PLL2.PLL2R = 1;
  PeriphClkInitStruct.PLL2.PLL2RGE = RCC_PLL2VCIRANGE_2;
  PeriphClkInitStruct.PLL2.PLL2VCOSEL = RCC_PLL2VCOWIDE;
  PeriphClkInitStruct.PLL2.PLL2FRACN = 0;
  PeriphClkInitStruct.CkperClockSelection = RCC_CLKPSOURCE_HSI;
  PeriphClkInitStruct.Spi123ClockSelection = RCC_SPI123CLKSOURCE_PLL2;
  PeriphClkInitStruct.Spi45ClockSelection = RCC_SPI45CLKSOURCE_PLL2;
  if (HAL_RCCEx_PeriphCLKConfig(&PeriphClkInitStruct) != HAL_OK)
  {
    Error_Handler();
  }
}

 /* MPU Configuration */

void MPU_Config(void)
{
  MPU_Region_InitTypeDef MPU_InitStruct = {0};

  /* Disables the MPU */
  HAL_MPU_Disable();

  /** Initializes and configures the Region and the memory to be protected
  */
  MPU_InitStruct.Enable = MPU_REGION_ENABLE;
  MPU_InitStruct.Number = MPU_REGION_NUMBER0;
  MPU_InitStruct.BaseAddress = 0x0;
  MPU_InitStruct.Size = MPU_REGION_SIZE_4GB;
  MPU_InitStruct.SubRegionDisable = 0x87;
  MPU_InitStruct.TypeExtField = MPU_TEX_LEVEL0;
  MPU_InitStruct.AccessPermission = MPU_REGION_NO_ACCESS;
  MPU_InitStruct.DisableExec = MPU_INSTRUCTION_ACCESS_DISABLE;
  MPU_InitStruct.IsShareable = MPU_ACCESS_SHAREABLE;
  MPU_InitStruct.IsCacheable = MPU_ACCESS_NOT_CACHEABLE;
  MPU_InitStruct.IsBufferable = MPU_ACCESS_NOT_BUFFERABLE;

  HAL_MPU_ConfigRegion(&MPU_InitStruct);

  /** Initializes and configures the Region and the memory to be protected
  */
  MPU_InitStruct.Number = MPU_REGION_NUMBER1;
  MPU_InitStruct.BaseAddress = 0x08000000;
  MPU_InitStruct.Size = MPU_REGION_SIZE_2MB;
  MPU_InitStruct.SubRegionDisable = 0x0;
  MPU_InitStruct.TypeExtField = MPU_TEX_LEVEL1;
  MPU_InitStruct.AccessPermission = MPU_REGION_PRIV_RO_URO;
  MPU_InitStruct.DisableExec = MPU_INSTRUCTION_ACCESS_ENABLE;
  MPU_InitStruct.IsShareable = MPU_ACCESS_NOT_SHAREABLE;
  MPU_InitStruct.IsCacheable = MPU_ACCESS_CACHEABLE;
  MPU_InitStruct.IsBufferable = MPU_ACCESS_BUFFERABLE;

  HAL_MPU_ConfigRegion(&MPU_InitStruct);

  /** Initializes and configures the Region and the memory to be protected
  */
  MPU_InitStruct.Number = MPU_REGION_NUMBER2;
  MPU_InitStruct.BaseAddress = 0x24000000;
  MPU_InitStruct.Size = MPU_REGION_SIZE_512KB;
  MPU_InitStruct.AccessPermission = MPU_REGION_FULL_ACCESS;

  HAL_MPU_ConfigRegion(&MPU_InitStruct);

  /** Initializes and configures the Region and the memory to be protected
  */
  MPU_InitStruct.Number = MPU_REGION_NUMBER3;
  MPU_InitStruct.BaseAddress = 0x30000000;
  MPU_InitStruct.Size = MPU_REGION_SIZE_256KB;

  HAL_MPU_ConfigRegion(&MPU_InitStruct);

  /** Initializes and configures the Region and the memory to be protected
  */
  MPU_InitStruct.Number = MPU_REGION_NUMBER4;
  MPU_InitStruct.BaseAddress = 0x30040000;
  MPU_InitStruct.Size = MPU_REGION_SIZE_32KB;
  MPU_InitStruct.TypeExtField = MPU_TEX_LEVEL0;
  MPU_InitStruct.DisableExec = MPU_INSTRUCTION_ACCESS_DISABLE;
  MPU_InitStruct.IsCacheable = MPU_ACCESS_NOT_CACHEABLE;
  MPU_InitStruct.IsBufferable = MPU_ACCESS_NOT_BUFFERABLE;

  HAL_MPU_ConfigRegion(&MPU_InitStruct);

  /** Initializes and configures the Region and the memory to be protected
  */
  MPU_InitStruct.Number = MPU_REGION_NUMBER5;
  MPU_InitStruct.BaseAddress = 0x38000000;
  MPU_InitStruct.Size = MPU_REGION_SIZE_64KB;
  MPU_InitStruct.DisableExec = MPU_INSTRUCTION_ACCESS_ENABLE;

  HAL_MPU_ConfigRegion(&MPU_InitStruct);

  /** Initializes and configures the Region and the memory to be protected
  */
  MPU_InitStruct.Number = MPU_REGION_NUMBER6;
  MPU_InitStruct.BaseAddress = 0x20000000;
  MPU_InitStruct.Size = MPU_REGION_SIZE_128KB;
  MPU_InitStruct.TypeExtField = MPU_TEX_LEVEL1;
  MPU_InitStruct.IsCacheable = MPU_ACCESS_CACHEABLE;
  MPU_InitStruct.IsBufferable = MPU_ACCESS_BUFFERABLE;

  HAL_MPU_ConfigRegion(&MPU_InitStruct);

  /** Initializes and configures the Region and the memory to be protected
  */
  MPU_InitStruct.Number = MPU_REGION_NUMBER7;
  MPU_InitStruct.BaseAddress = 0x40000000;
  MPU_InitStruct.Size = MPU_REGION_SIZE_256MB;
  MPU_InitStruct.TypeExtField = MPU_TEX_LEVEL0;
  MPU_InitStruct.IsCacheable = MPU_ACCESS_NOT_CACHEABLE;
  MPU_InitStruct.IsBufferable = MPU_ACCESS_NOT_BUFFERABLE;

  HAL_MPU_ConfigRegion(&MPU_InitStruct);
  /* Enables the MPU */
  HAL_MPU_Enable(MPU_PRIVILEGED_DEFAULT);

}

void HAL_TIM_PeriodElapsedCallback(TIM_HandleTypeDef *htim)
{
  if (htim->Instance == TIM17) {
    HAL_IncTick();
  }
}

void Error_Handler(void)
{
  /* USER CODE BEGIN Error_Handler_Debug */
	LEprintf("%s()\n", __FUNCTION__);
  /* User can add his own implementation to report the HAL error return state */
  __disable_irq();
  while (1)
  {
  }
  /* USER CODE END Error_Handler_Debug */
}
